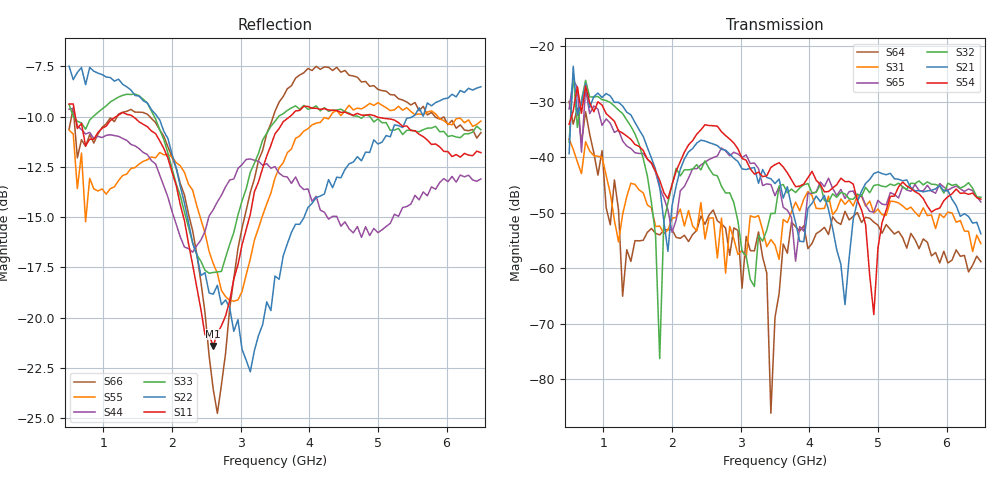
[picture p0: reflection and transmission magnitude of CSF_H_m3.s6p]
!Keysight Technologies,M9804A,MY58100912,A.14.10.03
!Date: Thursday, April 27, 2023 10:28:33
!Correction: S11(C  6-Port  )
!S12(C  6-Port  )
!S13(C  6-Port  )
!S14(C  6-Port  )
!S15(C  6-Port  )
!S16(C  6-Port  )
!S21(C  6-Port  )
!S22(C  6-Port  )
!S23(C  6-Port  )
!S24(C  6-Port  )
!S25(C  6-Port  )
!S26(C  6-Port  )
!S31(C  6-Port  )
!S32(C  6-Port  )
!S33(C  6-Port  )
!S34(C  6-Port  )
!S35(C  6-Port  )
!S36(C  6-Port  )
!S41(C  6-Port  )
!S42(C  6-Port  )
!S43(C  6-Port  )
!S44(C  6-Port  )
!S45(C  6-Port  )
!S46(C  6-Port  )
!S51(C  6-Port  )
!S52(C  6-Port  )
!S53(C  6-Port  )
!S54(C  6-Port  )
!S55(C  6-Port  )
!S56(C  6-Port  )
!S61(C  6-Port  )
!S62(C  6-Port  )
!S63(C  6-Port  )
!S64(C  6-Port  )
!S65(C  6-Port  )
!S66(C  6-Port  )
!S6P File: Measurement: :
# Hz S  RI  R 50
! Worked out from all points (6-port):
!   101 points, 500 MHz to 6.5 GHz, reference 50 ohm
!   strongest paths, dB at 500 MHz, 2 GHz, 3.5 GHz, 5 GHz, 6.5 GHz:
!     S54: -34.1, -44.9, -41.3, -56.4, -47.6
!     S21: -39.4, -48.7, -44.7, -42.6, -53.8
!     S32: -37.3, -45.0, -50.1, -44.9, -47.2
!     S65: -31.3, -53.5, -46.9, -47.8, -48.1
!     S31: -36.7, -51.0, -55.8, -49.3, -55.6
!     S64: -30.0, -53.1, -68.9, -52.2, -58.8
!   lowest |S11| = -21.4 dB at 2.6 GHz (marker M1), VSWR 1.19, Z = 42.5 + j2.27 ohm
!   |S11| at or under -10 dB: 590.9 MHz to 1.186 GHz (594.8 MHz wide, 67 % of centre); 1.429 GHz to 3.716 GHz (2.287 GHz wide, 88.9 % of centre); 4.977 GHz to end of sweep
